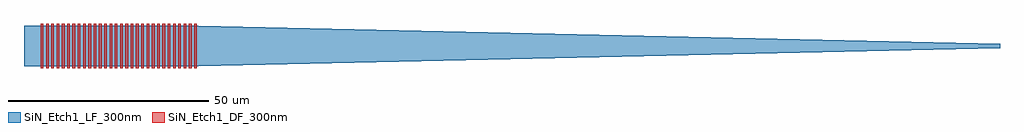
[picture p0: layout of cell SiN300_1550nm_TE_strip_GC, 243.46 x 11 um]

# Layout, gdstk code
import gdstk
lib = gdstk.Library(unit=1e-6, precision=1e-09)
def R(c, l, rs):  # rectangles x0, y0, x1, y1
    for r in rs: c.add(gdstk.rectangle(r[:2], r[2:], *l))
def A(c, l, x, y, w, h, nx, ny, dx, dy):  # array of equal rectangles
    R(c, l, [(x+i*dx, y+j*dy, x+i*dx+w, y+j*dy+h) for i in range(nx) for j in range(ny)])
def P(c, l, *ps):  # polygons
    for p in ps: c.add(gdstk.Polygon(p, *l))
SiN_Etch1_LF_300nm = (203, 0)
SiN_Etch1_DF_300nm = (204, 0)

sin300_1550nm_te_strip_g = lib.new_cell('SiN300_1550nm_TE_strip_GC')
P(sin300_1550nm_te_strip_g, SiN_Etch1_LF_300nm, [(-243.455,-5),(-243.455,5),(-200,5),(0,0.6),(0,-0.6),(-200,-5)])
A(sin300_1550nm_te_strip_g, SiN_Etch1_DF_300nm, -239.282, -5.5, 0.66, 11, 30, 1, 1.32, 0)

lib.write_gds('SiN300_1550nm_TE_strip_GC.gds')
